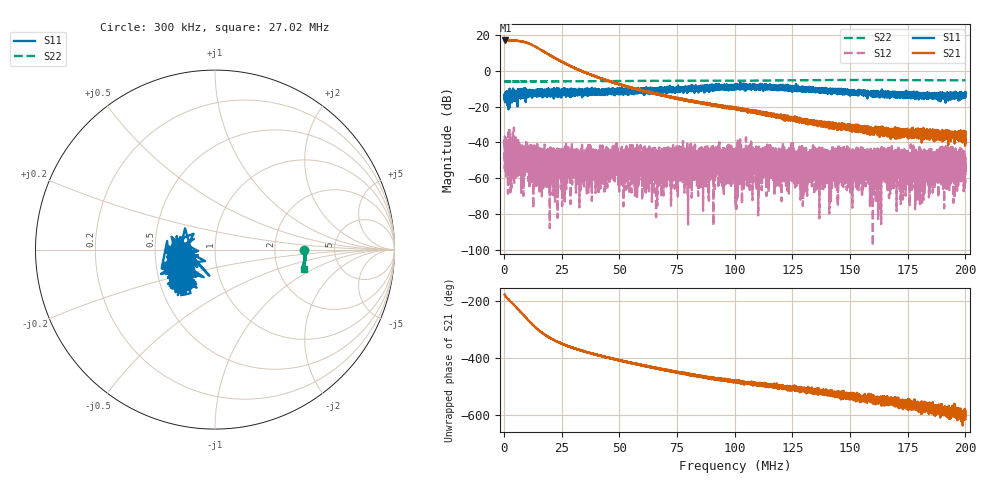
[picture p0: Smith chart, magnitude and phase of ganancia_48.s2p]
# Hz S DB R 50
! CMT, M5065, 19127446, 24.2.4/2
! Date: 11/8/2024 3:17:53 PM
! Data: Format (Calibration Info)
! Freq	S11:dB/Ang(F2)	S21:dB/Ang(F2)	S12:dB/Ang(F2)	S22:dB/Ang(F2)
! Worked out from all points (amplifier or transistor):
!   9000 points, 300 kHz to 200 MHz, reference 50 ohm
!   highest |S21| = 16.9 dB at 677.3 kHz (marker M1)
!   |S21| within 3 dB of that: start of sweep to 12.94 MHz
!   unconditionally stable (mu >= 1): start of sweep to end of sweep
!   at 33.59 MHz: K = 103.84, MAG = 1.6 dB, |S12| = -49.6 dB
!   at 100.2 MHz: K = 1033.00, MAG = -19.2 dB, |S12| = -48.9 dB
!   at 200 MHz: K = 8168.47, MAG = -36.9 dB, |S12| = -49.2 dB
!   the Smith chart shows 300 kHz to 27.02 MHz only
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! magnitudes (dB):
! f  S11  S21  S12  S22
! 300 kHz  -16.5  16.9  -38.4  -6.1
! 677.3 kHz  -17.2  16.9  -47.1  -6.0
! 1.321 MHz  -13.1  16.8  -48.2  -6.0
! 6.469 MHz  -12.7  16.6  -46.4  -6.0
! 8.489 MHz  -10.8  16.2  -47.7  -5.9
! 22.65 MHz  -12.9  6.7  -48.4  -5.9
! 27.06 MHz  -11.9  3.7  -44.1  -5.9
! 33.59 MHz  -10.9  -0.1  -49.6  -5.9
! 48.32 MHz  -11.3  -7.0  -53.6  -5.8
! 66.87 MHz  -11.4  -12.9  -48.3  -5.7
! 71.4 MHz  -11.0  -14.6  -51.1  -5.6
! 100.2 MHz  -10.0  -21.1  -48.9  -5.6
! 133.4 MHz  -11.2  -28.1  -55.4  -5.3
! 140.9 MHz  -11.7  -28.6  -45.9  -5.2
! 143.3 MHz  -10.9  -31.5  -44.2  -5.2
! 147.1 MHz  -11.5  -30.8  -51.3  -5.2
! 152.2 MHz  -12.6  -31.8  -56.3  -5.2
! 154.1 MHz  -12.4  -32.9  -53.4  -5.2
! 162.6 MHz  -13.9  -33.4  -55.3  -5.2
! 165.1 MHz  -13.1  -34.0  -50.1  -5.2
! 166.7 MHz  -13.0  -34.2  -49.5  -5.2
! 200 MHz  -11.9  -38.7  -49.2  -5.3
